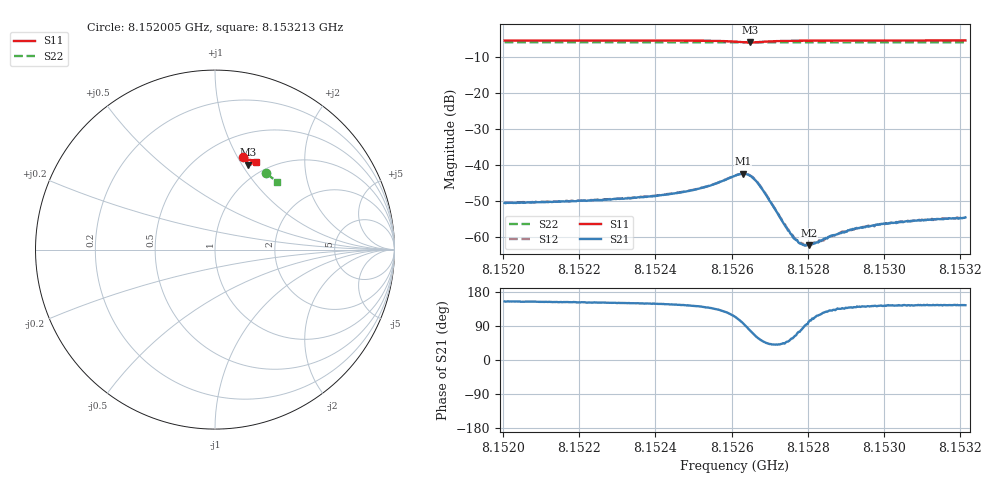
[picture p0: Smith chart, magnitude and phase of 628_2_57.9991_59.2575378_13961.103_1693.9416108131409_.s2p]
#  HZ  S  RI  R  50.00
! Rohde & Schwarz Vector Network Analyzer
! Rohde-Schwarz,ZNB20-2Port,1311601062101988,3.16
! Created: UTC 3/21/2024, 1:18:25 AM
! freq[Hz]  re:S11  im:S11  re:S21  im:S21  re:S12  im:S12  re:S22  im:S22
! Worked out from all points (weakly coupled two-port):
!   401 points, 8.152005 GHz to 8.153213 GHz, reference 50 ohm
!   highest |S21| = -42.46 dB at 8.15263 GHz (marker M1); lowest = -62.4 dB at 8.152802 GHz (marker M2)
!   lowest |S11| = -5.9 dB at 8.152648 GHz (marker M3), VSWR 3.07, Z = 41.9 + j53.4 ohm
!   |S11| at or under -10 dB: nowhere
!   |S22| runs from -5.9 to -5.8 dB; largest |S21 - S12| = 0.00015
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8.1520046e9  0.1575 0.5169  -0.00267 0.00126  -0.00265 0.00131  0.2864 0.4244
8.1522071e9  0.1722 0.5124  -0.00282 0.00146  -0.00284 0.00151  0.297 0.4168
8.1524095e9  0.188 0.5063  -0.0032 0.00199  -0.00316 0.00206  0.3073 0.4089
8.1525153e9  0.1982 0.5001  -0.00366 0.00293  -0.00367 0.00298  0.3127 0.4045
8.1525546e9  0.2024 0.4952  -0.00384 0.00379  -0.00381 0.00387  0.3146 0.4028
8.152609e9  0.2041 0.4802  -0.00288 0.00646  -0.00282 0.00654  0.3169 0.4
8.1526302e9  0.1968 0.473  -0.000903 0.00748  -0.000834 0.00752  0.3177 0.399
8.1526483e9  0.1861 0.4729  0.00149 0.00692  0.00153 0.00697  0.318 0.3985
8.1526604e9  0.1804 0.4774  0.00256 0.00572  0.00265 0.00577  0.3185 0.3983
8.1526755e9  0.1775 0.4848  0.00298 0.00402  0.00308 0.00404  0.3192 0.3981
8.152739e9  0.1882 0.4996  0.00107 0.001  0.00109 0.00106  0.3228 0.3959
8.1527601e9  0.1919 0.5005  0.000547 0.000842  0.00058 0.000873  0.3239 0.3951
8.1527813e9  0.1949 0.5009  0.000171 0.00078  0.000182 0.000803  0.3251 0.3941
8.1527934e9  0.1966 0.5007  -2.15e-05 0.000756  -1.76e-05 0.000746  0.3255 0.3936
8.1528024e9  0.1978 0.5007  -0.000146 0.00074  -0.00014 0.000778  0.3262 0.3932
8.1528115e9  0.1987 0.5007  -0.000263 0.000735  -0.000218 0.000779  0.3266 0.3928
8.1528387e9  0.2018 0.5001  -0.000505 0.000749  -0.000487 0.000734  0.3279 0.3918
8.1528901e9  0.2069 0.4991  -0.000831 0.000779  -0.00085 0.000814  0.3305 0.3897
8.1529112e9  0.2086 0.4986  -0.000939 0.000822  -0.000937 0.000809  0.3315 0.3887
8.153014e9  0.2167 0.4959  -0.00125 0.000919  -0.00123 0.000919  0.3363 0.3844
8.1531197e9  0.2245 0.493  -0.00141 0.000995  -0.00141 0.00104  0.3415 0.3798
8.1532134e9  0.2309 0.4903  -0.00151 0.00107  -0.00151 0.00103  0.3457 0.3757
